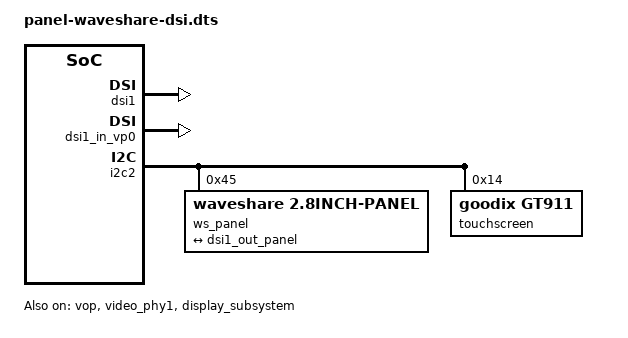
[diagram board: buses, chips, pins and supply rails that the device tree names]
/*
 * Waveshare 2.8" DSI panel on dsi1 (RK3566), HDMI disabled.
 *
 * The panel's MCU is an I2C device (0x45) wired to dsi1 port@1
 * dsi1 is driven by VP0
 *
 * `panel = <&ws_panel>` on display-subsystem is read by fw_devlink only:
 * it holds the DRM master back until the panel module has bound 0x45.
 */

/dts-v1/;
/plugin/;

/* HDMI off */

&hdmi        { status = "disabled"; };
&hdmi_in_vp0 { status = "disabled"; };
&hdmi_sound  { status = "disabled"; };

/* display pipeline: VOP2 VP0 -> dsi1 -> video_phy1 */

&vop         { status = "okay"; };
&vop_mmu     { status = "okay"; };
&video_phy1  { status = "okay"; };
&dsi1        { status = "okay"; };
&dsi1_in_vp0 { status = "okay"; };
&dsi1_in_vp1 { status = "disabled"; };

&display_subsystem {
	status = "okay";
	panel = <&ws_panel>;	/* fw_devlink probe dependency only */
};

/* The board's DSI-child panel@0 must stay off: this panel lives on I2C. */
&dsi1_panel { status = "disabled"; };

/* dsi1 port@1 -> the I2C panel node below */
&dsi1_out_panel { remote-endpoint = <&ws_panel_in>; };

/* panel MCU and touch, on the DSI connector's I2C bus */
&i2c2 {
	status = "okay";

	ws_panel: panel@45 {
		compatible = "waveshare,2.8inch-panel";
		reg = <0x45>;
		rotation = <90>;

		port {
			ws_panel_in: endpoint {
				remote-endpoint = <&dsi1_out_panel>;
			};
		};
	};

	touchscreen@14 {
		compatible = "goodix,gt911";
		reg = <0x14>;
		touchscreen-size-x = <480>;
		touchscreen-size-y = <640>;
		touchscreen-inverted-y;
		touchscreen-swapped-x-y;
	};
};
